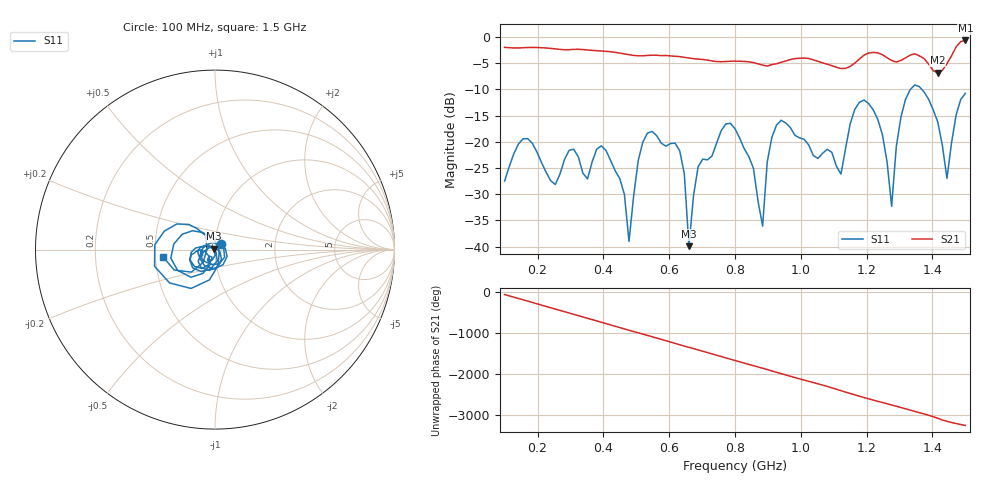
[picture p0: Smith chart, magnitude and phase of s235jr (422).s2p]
! NanoVNA-App
! Date: 2025-09-25 15:07:27
! Start: 100MHz Stop: 1,5GHz Points: 101
! S-Parameter data: F S11 S21 S12 S22
# Hz S RI R 50
!  Frequency  S11_Real  S11_Imag  S21_Real  S21_Imag  S12_Real  S12_Imag  S22_Real  S22_Imag
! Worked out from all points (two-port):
!   101 points, 100 MHz to 1.5 GHz, reference 50 ohm
!   highest |S21| = -0.65 dB at 1.5 GHz (marker M1); lowest = -6.8 dB at 1.416 GHz (marker M2)
!   |S21| within 3 dB of the highest: start of sweep to 614.2 MHz; 1.188 GHz to 1.255 GHz (66.51 MHz wide, 5.44 % of centre) (the widest 2 of 4)
!   lowest |S11| = -39.9 dB at 660 MHz (marker M3), VSWR 1.02, Z = 49.2 + j0.564 ohm
!   |S11| at or under -10 dB: start of sweep to 1.333 GHz; 1.368 GHz to end of sweep
!   S12 and S22 are empty: the file has one direction only
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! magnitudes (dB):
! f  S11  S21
! 100 MHz  -27.5  -2.0
! 156 MHz  -19.4  -2.0
! 338 MHz  -26.0  -2.4
! 408 MHz  -21.6  -2.7
! 478 MHz  -39.0  -3.4
! 520 MHz  -20.0  -3.6
! 576 MHz  -20.3  -3.5
! 632 MHz  -21.7  -3.7
! 660 MHz  -39.9  -4.0
! 688 MHz  -24.7  -4.2
! 800 MHz  -17.5  -4.6
! 884 MHz  -36.1  -5.4
! 926 MHz  -16.8  -5.1
! 1.038 GHz  -22.6  -4.4
! 1.122 GHz  -26.1  -6.0
! 1.192 GHz  -12.0  -3.5
! 1.248 GHz  -18.7  -3.4
! 1.276 GHz  -32.3  -4.5
! 1.332 GHz  -10.1  -3.5
! 1.416 GHz  -16.2  -6.8
! 1.444 GHz  -27.0  -5.1
! 1.5 GHz  -10.7  -0.7
